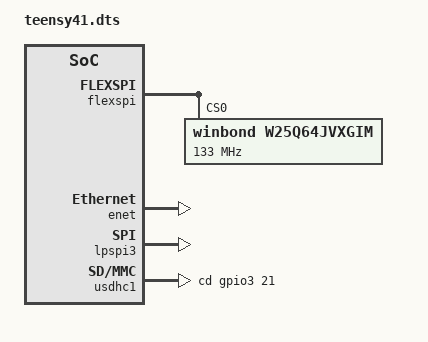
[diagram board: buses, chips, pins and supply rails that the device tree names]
/*
 * Copyright (c) 2020, Bernhard Kraemer
 *
 * SPDX-License-Identifier: Apache-2.0
 */

#include "teensy40.dts"

/delete-node/ &w25q16jvuxim;
&flexspi {
	reg = < 0x402a8000 0x4000 >, < 0x60000000 0x800000 >;
	/* WINBOND flash memory*/
	w25q64jvxgim: w25q64jvxgim@0 {
		compatible = "winbond,w25q64jvxgim", "jedec,spi-nor";
		size = < 8388607 >;
		label = "W25Q64JVXGIM";
		reg = < 0 >;
		spi-max-frequency = < 133000000 >;
		status = "okay";
		jedec-id = [ ef 70 17 ];
	};
};

&enet {
	status = "okay";
	ptp {
		status = "okay";
	};
};

&lpspi3 {
	status = "okay";
};

&usdhc1 {
	status = "okay";
	/* These gpios are not functional but must be defined here
	 * for the usdhc driver to work. Since they are not used on
	 * teensy board this should not have any negative effects
	 * on other peripherals.
	 */
	pwr-gpios = < &gpio1 5 GPIO_ACTIVE_HIGH >;
	cd-gpios = < &gpio3 21 GPIO_ACTIVE_HIGH>;
};
